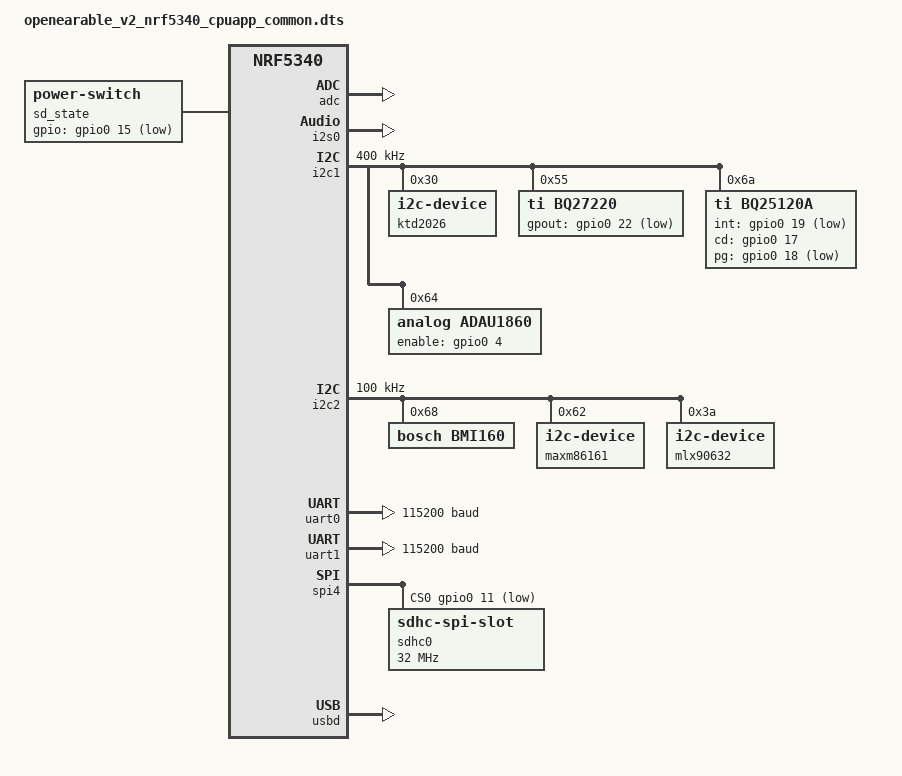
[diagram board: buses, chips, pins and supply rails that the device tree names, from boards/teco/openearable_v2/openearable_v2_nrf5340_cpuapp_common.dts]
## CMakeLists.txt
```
#
# Copyright (c) 2022 Nordic Semiconductor ASA
#
# SPDX-License-Identifier: LicenseRef-Nordic-5-Clause
#

cmake_minimum_required(VERSION 3.20.0)

# Ensure the custom board root is visible to Zephyr (avoids having to pass
# -DBOARD_ROOT=... on every command line invocation).
if(NOT BOARD_ROOT)
    set(BOARD_ROOT ${CMAKE_CURRENT_SOURCE_DIR} CACHE PATH "Custom board root")
endif()

# Flag which defines whether application is compiled as gateway/dongle or headset
add_compile_definitions(HEADSET=1)
add_compile_definitions(GATEWAY=2)

find_package(Zephyr REQUIRED HINTS $ENV{ZEPHYR_BASE})

project(openearable_v2_1)

#set(OVERLAY_CONFIG 
#    ${CMAKE_CURRENT_SOURCE_DIR}/unicast_server/overlay-unicast_server.conf
#)

string(TIMESTAMP NRF5340_AUDIO_CORE_APP_COMP_DATE "%a %b %d %H:%M:%S %Y")

# Generate fw_info_app.c
configure_file("${CMAKE_CURRENT_SOURCE_DIR}/src/utils/fw_info_app.c.in"
               "${CMAKE_BINARY_DIR}/fw_info_app.c"
               @ONLY)

# Target sources below are specific to the nRF5340 Audio DK HW
target_sources(app PRIVATE
#    src/openearable_common.c
    ${CMAKE_BINARY_DIR}/fw_info_app.c
    )

target_compile_options(app PRIVATE $<$<COMPILE_LANGUAGE:CXX>:-Wno-write-strings>)

if (CONFIG_BT_BAP_BROADCAST_SINK)
	add_subdirectory(broadcast_sink)
endif()

# Always compile the main application logic, regardless of audio settings
add_subdirectory(unicast_server)


# Include application events and configuration headers
zephyr_library_include_directories(
    include
    src/audio
    src/Battery
    src/Wire
    src/bluetooth
    src/drivers
    src/modules
    src/utils
    src/utils/macros
    src/ParseInfo
    src/SD_Card/SDLogger
    src/SD_Card/Benchmark
    src/SD_Card/SD_Card_Manager
)

zephyr_library_include_directories(app PRIVATE
    ${ZEPHYR_NRF_MODULE_DIR}/boards/teco/openearable_v2_nrf5340)

# Application sources
add_subdirectory(src/audio)
add_subdirectory(src/Wire)
add_subdirectory(src/Battery)
add_subdirectory(src/bluetooth)
add_subdirectory(src/buttons)
add_subdirectory(src/drivers)
add_subdirectory(src/modules)
add_subdirectory(src/utils)
add_subdirectory(src/ParseInfo)
add_subdirectory(src/SensorManager)
add_subdirectory(src/SD_Card/SDLogger)
add_subdirectory(src/SD_Card/Benchmark)
add_subdirectory(src/SD_Card/SD_Card_Manager)

## Cirrus Logic
if (CONFIG_HW_CODEC_CIRRUS_LOGIC)
    if (ZEPHYR_CIRRUS_LOGIC_MODULE_DIR)
        add_subdirectory(${ZEPHYR_CIRRUS_LOGIC_MODULE_DIR} cirrus_logic_bin_dir)
    else()
        message(FATAL_ERROR "Cirrus Logic/sdk-mcu-drivers repository not found\n")
    endif()
endif()

include(version.cmake)
include_directories(${CMAKE_CURRENT_BINARY_DIR}/include)
```

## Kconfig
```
#
# Copyright (c) 2018 Nordic Semiconductor ASA
#
# SPDX-License-Identifier: LicenseRef-Nordic-5-Clause
#

menuconfig NRF5340_AUDIO
	 bool "nRF5340 Audio [EXPERIMENTAL]"
	 select EXPERIMENTAL
	
if NRF5340_AUDIO

config CUSTOM_BROADCASTER
	bool "Allow custom broadcasters"
	default n
	help
	  Incomplete feature for now, but will introduce support for multiple BIGs and subgroups.

config AUDIO_DEV
	int "Select which device type to compile for. 1=HEADSET or 2=GATEWAY"
	range 1 2
	default 1
	help
	  Setting this variable to 1 selects that the project is compiled
	  as a HEADSET device.
	  Setting to 2 will compile as a GATEWAY.

choice NRF5340_AUDIO_TRANSPORT_MODE
	prompt "Choose BIS or CIS for ISO transport"
	default TRANSPORT_CIS if WALKIE_TALKIE_DEMO
	default TRANSPORT_CIS

config TRANSPORT_BIS
	bool "Use BIS (Broadcast Isochronous Stream)"

config TRANSPORT_CIS
	bool "Use CIS (Connected Isochronous Stream)"

endchoice

#----------------------------------------------------------------------------#
# if (TRANSPORT_BIS && AUDIO_DEV = 1)
# rsource "broadcast_sink/Kconfig.defaults"
# endif # TRANSPORT_BIS && AUDIO_DEV = 1

# if (TRANSPORT_BIS && AUDIO_DEV = 2)
# rsource "broadcast_source/Kconfig.defaults"
# endif # TRANSPORT_BIS && AUDIO_DEV = 2

# if (TRANSPORT_CIS && AUDIO_DEV = 1)
rsource "unicast_server/Kconfig.defaults"
# endif # TRANSPORT_CIS && AUDIO_DEV = 1

# if (TRANSPORT_CIS && AUDIO_DEV = 2)
# rsource "unicast_client/Kconfig.defaults"
# endif # TRANSPORT_CIS && AUDIO_DEV = 2

endif # NRF5340_AUDIO

rsource "Kconfig.defaults"
rsource "src/audio/Kconfig"
rsource "src/bluetooth/Kconfig"
rsource "src/drivers/Kconfig"
rsource "src/modules/Kconfig"
rsource "src/utils/Kconfig"
rsource "src/SensorManager/Kconfig"
rsource "src/Battery/Kconfig"

#----------------------------------------------------------------------------#
menu "Logging"

module = MAIN
module-str = main
source "subsys/logging/Kconfig.template.log_config"

config PRINT_STACK_USAGE_MS
	depends on THREAD_ANALYZER && INIT_STACKS
	int "Print stack usage every x milliseconds"
	default 5000

endmenu # Log levels

#----------------------------------------------------------------------------#

source "Kconfig.zephyr"
```

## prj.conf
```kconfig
#
# Copyright (c) 2022 Nordic Semiconductor ASA
#
# SPDX-License-Identifier: LicenseRef-Nordic-5-Clause
#

# CONFIG_STATIC_INIT_GNU=y

# nRF5340 Audio
# nRF5340 Audio
CONFIG_NRF5340_AUDIO=n
CONFIG_SAMPLE_RATE_CONVERTER=n
CONFIG_SAMPLE_RATE_CONVERTER_FILTER_SIMPLE=n
CONFIG_BT_AUDIO=n
CONFIG_BT_DEVICE_APPEARANCE=0

# BT enabled (required - entire codebase depends on BT APIs)
CONFIG_BT=y


# General
CONFIG_DEBUG=y
CONFIG_DEBUG_INFO=y
CONFIG_ASSERT=y
CONFIG_STACK_USAGE=y
CONFIG_THREAD_RUNTIME_STATS=y
CONFIG_STACK_SENTINEL=y
CONFIG_INIT_STACKS=y

# Fix: Increase main stack for C++ application (was 1600, too small)
CONFIG_MAIN_STACK_SIZE=4096
CONFIG_HEAP_MEM_POOL_SIZE=4096
CONFIG_SYSTEM_WORKQUEUE_STACK_SIZE=4096

# Uart driver
CONFIG_SERIAL=y

# Logging
CONFIG_LOG=y
CONFIG_NEWLIB_LIBC_FLOAT_PRINTF=y
CONFIG_LOG_TAG_MAX_LEN=2
CONFIG_LOG_TAG_DEFAULT="--"
CONFIG_LOG_BACKEND_UART=y
CONFIG_LOG_BUFFER_SIZE=4096

# Use this for debugging thread usage
#CONFIG_LOG_THREAD_ID_PREFIX=y

# Console related defines
CONFIG_CONSOLE=y
CONFIG_RTT_CONSOLE=n
CONFIG_UART_CONSOLE=y

# Shell related defines
CONFIG_SHELL=n
CONFIG_KERNEL_SHELL=n
CONFIG_USE_SEGGER_RTT=y
## Disable logs on RTT
CONFIG_SHELL_RTT_INIT_LOG_LEVEL_NONE=y
CONFIG_SHELL_BACKEND_RTT=n
CONFIG_SHELL_BACKEND_SERIAL=n
CONFIG_SHELL_VT100_COMMANDS=y
CONFIG_SHELL_VT100_COLORS=y
CONFIG_SHELL_STACK_SIZE=4096
CONFIG_SHELL_CMD_BUFF_SIZE=128
## Reduce shell memory usage
CONFIG_SHELL_WILDCARD=n
CONFIG_SHELL_HELP_ON_WRONG_ARGUMENT_COUNT=n
CONFIG_SHELL_STATS=n
CONFIG_SHELL_CMDS=n
CONFIG_SHELL_HISTORY=y

# Turn off default shell commands
CONFIG_I2C_SHELL=n
CONFIG_HWINFO_SHELL=n
CONFIG_CLOCK_CONTROL_NRF_SHELL=n
CONFIG_FLASH_SHELL=n
CONFIG_DEVICE_SHELL=n

# Suppress LOG_ERR messages from sd_check_card_type. Because SPI_SDHC has no card presence method,
# assume card is in slot. Thus error message is always shown if card is not inserted
CONFIG_SD_LOG_LEVEL_OFF=y

# Suppress LOG_INF messages from hci_core
CONFIG_BT_HCI_CORE_LOG_LEVEL_WRN=y

# Meow Sense Tag: disable hardware not present on our board
CONFIG_NRF5340_AUDIO_CS47L63_DRIVER=n
CONFIG_NRF5340_AUDIO_POWER_MEASUREMENT=n
CONFIG_NRF5340_AUDIO_SD_CARD_MODULE=n

#Custom
CONFIG_NRFX_PWM1=y

CONFIG_I2C=y
CONFIG_I2C_NRFX=y
# Prevent the nRF TWIM driver from hanging indefinitely if the bus is locked
CONFIG_I2C_NRFX_TRANSFER_TIMEOUT=500

# Disable Zephyr in-tree BMI160 driver — we use our own DFRobot_BMI160 via raw I2C.
# Having both active causes double soft-reset and bus contention at boot.
CONFIG_BMI160=n

CONFIG_POWEROFF=y

CONFIG_PM=y # may cause delay issues for ISO stream ?
CONFIG_PM_DEVICE=y
CONFIG_PM_DEVICE_RUNTIME=y

CONFIG_BT_DEVICE_NAME="Xinyi_IMU_Left_Thigh"

# Configure Internal RC Oscillator for LFCLK to bypass missing 32.768kHz crystal issue
CONFIG_CLOCK_CONTROL_NRF_K32SRC_RC=y
CONFIG_CLOCK_CONTROL_NRF_K32SRC_500PPM=y
CONFIG_CLOCK_CONTROL_NRF_K32SRC_XTAL=n

#CONFIG_USB_CDC_ACM_LOG_LEVEL_DBG=y# 增加超時到 400 (4秒)
CONFIG_BLE_ACL_SUP_TIMEOUT=400
# 允許從機跳過 3 個事件以節電並提升容錯
CONFIG_BLE_ACL_SLAVE_LATENCY=3

CONFIG_BT_PERIPHERAL=y
CONFIG_BT_OBSERVER=y
CONFIG_BT_EXT_ADV_LEGACY_SUPPORT=y

CONFIG_SFLOAT=y

# FPU Processing
CONFIG_FPU=y
CONFIG_CMSIS_DSP=n

CONFIG_NEWLIB_LIBC=y
CONFIG_NEWLIB_LIBC_FLOAT_PRINTF=y
CONFIG_NEWLIB_LIBC_FLOAT_SCANF=y

CONFIG_CPP=y
CONFIG_GLIBCXX_LIBCPP=y
CONFIG_STD_CPP17=y

#CONFIG_USB=y
CONFIG_USB_CDC_ACM=y

CONFIG_USB_DEVICE_STACK=y
CONFIG_USB_DEVICE_PRODUCT="Xinyi_IMU_Left_Thigh"
CONFIG_USB_DEVICE_PID=0x0004
CONFIG_USB_DEVICE_INITIALIZE_AT_BOOT=n

CONFIG_UART_LINE_CTRL=y

CONFIG_BT_USER_DATA_LEN_UPDATE=y
CONFIG_BT_USER_PHY_UPDATE=y

CONFIG_BT_CTLR_DATA_LENGTH_MAX=251
CONFIG_BT_BUF_ACL_RX_SIZE=502
CONFIG_BT_BUF_ACL_TX_SIZE=502
CONFIG_BT_L2CAP_TX_MTU=498
CONFIG_BT_CTLR_PHY_2M=y
CONFIG_BT_CTLR_PHY_CODED=n

# ISO buffers not needed (no LE Audio)
# CONFIG_BT_ISO_TX_BUF_COUNT=1
# CONFIG_BT_ISO_RX_BUF_COUNT=1


CONFIG_BT_ATT_PREPARE_COUNT=8
CONFIG_BT_L2CAP_DYNAMIC_CHANNEL=y

# Audio retransmits not needed (no LE Audio)
# CONFIG_BT_AUDIO_RETRANSMITS=2

CONFIG_BLE_ACL_CONN_INTERVAL=8

CONFIG_BT_PERIPHERAL=y
CONFIG_BT_OBSERVER=y

CONFIG_SFLOAT=y

#CONFIG_RESET_ON_FATAL_ERROR=y

# Stream bidirectional not needed (no LE Audio)
# CONFIG_STREAM_BIDIRECTIONAL=y

# No I2S/PDM microphone
CONFIG_AUDIO_MIC_I2S=n

# CONFIG_LOG_DEFAULT_LEVEL=4

CONFIG_SPI_NRFX_RAM_BUFFER_SIZE=4096

# Meow Sense Tag: no FDSP, keep SPI/filesystem for compile compatibility
CONFIG_FDSP=n

CONFIG_SYSTEM_WORKQUEUE_STACK_SIZE=4096

#CONFIG_USB_MASS_STORAGE=y
#CONFIG_MASS_STORAGE_STACK_SIZE=1024
#CONFIG_MASS_STORAGE_DISK_NAME="SD"
#CONFIG_APP_MSC_STORAGE_SDCARD=y

# Enable RTT Logging Backend
CONFIG_LOG_BACKEND_RTT=y
CONFIG_LOG_BACKEND_RTT_OUTPUT_BUFFER_SIZE=2048
CONFIG_LOG_BACKEND_RTT_RETRY_CNT=2

# Diagnostic: Disable watchdog to prevent reboot loop during debugging
CONFIG_WATCHDOG=n
CONFIG_WDT_DISABLE_AT_BOOT=y
CONFIG_BOOT_DELAY=1000

# Diagnostic: Short IPC timeout so main() can start even if NET core IPC fails
CONFIG_BT_HCI_IPC_ENDPOINT_BOUND_TIMEOUT_MS=500
CONFIG_RESET_ON_FATAL_ERROR=n
CONFIG_FAULT_DUMP=2

CONFIG_BT_NUS=y
```

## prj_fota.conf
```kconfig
#
# Copyright (c) 2022 Nordic Semiconductor ASA
#
# SPDX-License-Identifier: LicenseRef-Nordic-5-Clause
#

# CONFIG_STATIC_INIT_GNU=y

# nRF5340 Audio
CONFIG_NRF5340_AUDIO=y
CONFIG_SAMPLE_RATE_CONVERTER=y
CONFIG_SAMPLE_RATE_CONVERTER_FILTER_SIMPLE=y

# General
CONFIG_DEBUG=y
CONFIG_DEBUG_INFO=y
CONFIG_ASSERT=y
CONFIG_STACK_USAGE=y
CONFIG_THREAD_RUNTIME_STATS=y
CONFIG_STACK_SENTINEL=y
CONFIG_INIT_STACKS=y

# Uart driver
CONFIG_SERIAL=y

# Logging
CONFIG_LOG=y
CONFIG_NEWLIB_LIBC_FLOAT_PRINTF=y
CONFIG_LOG_TAG_MAX_LEN=2
CONFIG_LOG_TAG_DEFAULT="--"
CONFIG_LOG_BACKEND_UART=y
CONFIG_LOG_BUFFER_SIZE=4096

# Use this for debugging thread usage
#CONFIG_LOG_THREAD_ID_PREFIX=y

# Console related defines
CONFIG_CONSOLE=y
CONFIG_RTT_CONSOLE=y
CONFIG_UART_CONSOLE=y
CONFIG_STDOUT_CONSOLE=y

# Shell related defines
CONFIG_SHELL=y
CONFIG_KERNEL_SHELL=y
CONFIG_USE_SEGGER_RTT=y
## Disable logs on RTT
CONFIG_SHELL_RTT_INIT_LOG_LEVEL_NONE=y
CONFIG_SHELL_BACKEND_RTT=y
CONFIG_SHELL_BACKEND_SERIAL=n
CONFIG_SHELL_VT100_COMMANDS=y
CONFIG_SHELL_VT100_COLORS=y
CONFIG_SHELL_STACK_SIZE=4096
CONFIG_SHELL_CMD_BUFF_SIZE=128
## Reduce shell memory usage
CONFIG_SHELL_WILDCARD=n
CONFIG_SHELL_HELP_ON_WRONG_ARGUMENT_COUNT=n
CONFIG_SHELL_STATS=n
CONFIG_SHELL_CMDS=n
CONFIG_SHELL_HISTORY=y

# Turn off default shell commands
CONFIG_I2C_SHELL=n
CONFIG_HWINFO_SHELL=n
CONFIG_CLOCK_CONTROL_NRF_SHELL=n
CONFIG_FLASH_SHELL=n
CONFIG_DEVICE_SHELL=n

# Suppress LOG_ERR messages from sd_check_card_type. Because SPI_SDHC has no card presence method,
# assume card is in slot. Thus error message is always shown if card is not inserted
CONFIG_SD_LOG_LEVEL_OFF=y

# Suppress LOG_INF messages from hci_core
CONFIG_BT_HCI_CORE_LOG_LEVEL_WRN=y

# DFU
CONFIG_AUDIO_BT_MGMT_DFU=y
CONFIG_MCUMGR_TRANSPORT_BT_PERM_RW=y
CONFIG_BT_L2CAP_TX_MTU=498
CONFIG_BT_BUF_ACL_TX_SIZE=251

# External Flash (kept for MCUboot DFU, SPI NOR disabled - no flash chip)
CONFIG_FLASH=y
CONFIG_FLASH_MAP=y
CONFIG_SPI_NOR=n
#CONFIG_SPI_NOR_SFDP_DEVICETREE=y

# Meow Sense Tag: disable hardware not present on our board
CONFIG_NRF5340_AUDIO_CS47L63_DRIVER=n
CONFIG_NRF5340_AUDIO_POWER_MEASUREMENT=n
CONFIG_NRF5340_AUDIO_SD_CARD_MODULE=n

#Custom
CONFIG_NRFX_PWM1=y

CONFIG_I2C=y
CONFIG_I2C_NRFX=y

CONFIG_POWEROFF=y

#CONFIG_PM=y
CONFIG_PM_DEVICE=y
CONFIG_PM_DEVICE_RUNTIME=y

CONFIG_BT_DEVICE_NAME="Xinyi_IMU_Left_Shank"

#CONFIG_USB_CDC_ACM_LOG_LEVEL_DBG=y

CONFIG_BT_PERIPHERAL=y
CONFIG_BT_OBSERVER=y

CONFIG_SFLOAT=y

CONFIG_FPU=y

CONFIG_NEWLIB_LIBC=y
CONFIG_NEWLIB_LIBC_FLOAT_PRINTF=y
CONFIG_NEWLIB_LIBC_FLOAT_SCANF=y

CONFIG_CPP=y
CONFIG_GLIBCXX_LIBCPP=y
CONFIG_STD_CPP17=y

#CONFIG_USB=y
CONFIG_USB_CDC_ACM=y

CONFIG_USB_DEVICE_STACK=y
CONFIG_USB_DEVICE_PRODUCT="Xinyi_IMU_Left_Shank"
CONFIG_USB_DEVICE_PID=0x0004
CONFIG_USB_DEVICE_INITIALIZE_AT_BOOT=n

CONFIG_UART_LINE_CTRL=y

CONFIG_BT_USER_DATA_LEN_UPDATE=y
CONFIG_BT_USER_PHY_UPDATE=y

CONFIG_BT_CTLR_DATA_LENGTH_MAX=251
CONFIG_BT_BUF_ACL_RX_SIZE=502
CONFIG_BT_BUF_ACL_TX_SIZE=502
CONFIG_BT_L2CAP_TX_MTU=498
CONFIG_BT_CTLR_PHY_2M=y
CONFIG_BT_CTLR_PHY_CODED=n

CONFIG_BT_ISO_TX_BUF_COUNT=4
CONFIG_BT_ISO_RX_BUF_COUNT=8

CONFIG_BT_CTLR_RX_BUFFERS=8
#CONFIG_BT_CTLR_TX_BUFFERS=8

CONFIG_BT_CTLR_ISO_TX_BUFFERS=16
CONFIG_BT_CTLR_ISO_RX_BUFFERS=16

#CONFIG_BT_ISO_RX_MTU=498
#CONFIG_BT_ISO_TX_MTU=498

CONFIG_BT_ATT_PREPARE_COUNT=8
CONFIG_BT_L2CAP_DYNAMIC_CHANNEL=y

#CONFIG_BT_AUDIO_PRESENTATION_DELAY_US=40000
#CONFIG_BT_AUDIO_MAX_TRANSPORT_LATENCY_MS=20

CONFIG_BT_AUDIO_RETRANSMITS=2

CONFIG_BLE_ACL_CONN_INTERVAL=8

CONFIG_BT_PERIPHERAL=y
CONFIG_BT_OBSERVER=y

CONFIG_SFLOAT=y

#CONFIG_RESET_ON_FATAL_ERROR=y

CONFIG_STREAM_BIDIRECTIONAL=y

# CONFIG_NRFX_PDM=y

# Meow Sense Tag: no I2S microphone
CONFIG_AUDIO_MIC_I2S=n

# CONFIG_LOG_DEFAULT_LEVEL=4

CONFIG_SPI_NRFX_RAM_BUFFER_SIZE=4096

# Meow Sense Tag: no FDSP, keep SPI/filesystem for compile compatibility
CONFIG_FDSP=n

CONFIG_SYSTEM_WORKQUEUE_STACK_SIZE=4096

#CONFIG_USB_MASS_STORAGE=y
#CONFIG_MASS_STORAGE_STACK_SIZE=1024

##################################################

# Step 1.1 - Enable SPI driver for the application
#CONFIG_GPIO=y
#CONFIG_SPI=y
#CONFIG_SPI_NOR=y
#CONFIG_SPI_NOR_SFDP_DEVICETREE=y
#CONFIG_SPI_NOR_FLASH_LAYOUT_PAGE_SIZE=4096
# QSPI drivers are enabled by defualt for some chips.
# Disable it explicitly to be sure QSPI is disabled.
CONFIG_NORDIC_QSPI_NOR=n

# STEP 5.3 - Enable USB subsystem
CONFIG_USB_DEVICE_STACK=y
CONFIG_UART_LINE_CTRL=y
CONFIG_USB_DEVICE_INITIALIZE_AT_BOOT=n

# STEP 5.2 - Enable mcumgr DFU in application
# Enable MCUMGR 
CONFIG_MCUMGR=y

# Enable MCUMGR management for both OS and Images
CONFIG_MCUMGR_GRP_OS=y
CONFIG_MCUMGR_GRP_IMG=y

# Configure MCUMGR transport to UART
CONFIG_MCUMGR_TRANSPORT_UART=y

# Dependencies
# Configure dependencies for CONFIG_MCUMGR  
CONFIG_NET_BUF=y
CONFIG_ZCBOR=y
CONFIG_CRC=y

# Configure dependencies for CONFIG_MCUMGR_GRP_IMG  
CONFIG_FLASH=y
CONFIG_IMG_MANAGER=y

# Configure dependencies for CONFIG_IMG_MANAGER  
CONFIG_STREAM_FLASH=y
CONFIG_FLASH_MAP=y

# Configure dependencies for CONFIG_MCUMGR_TRANSPORT_UART 
CONFIG_BASE64=y

# MCUboot hooks
CONFIG_MCUMGR_MGMT_NOTIFICATION_HOOKS=y

CONFIG_MCUMGR_SMP_COMMAND_STATUS_HOOKS=y
#CONFIG_MCUMGR_GRP_FS_FILE_ACCESS_HOOK=y

CONFIG_MCUMGR_GRP_IMG_UPLOAD_CHECK_HOOK=y
CONFIG_MCUMGR_GRP_IMG_STATUS_HOOKS=y
CONFIG_MCUMGR_GRP_OS_RESET_HOOK=y

#CONFIG_MCUMGR_GRP_SETTINGS_ACCESS_HOOK=y

CONFIG_SETUP_FUEL_GAUGE=y
```

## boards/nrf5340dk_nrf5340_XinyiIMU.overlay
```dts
/ {
    chosen {
        /* 确保控制台和蓝牙 HCI 路径正确 */
        zephyr,console = &uart0;
        zephyr,shell-uart = &uart0;
        zephyr,bt-hci = &bt_hci_ipc0;
    };

    aliases {
        charging-led = &charging_led;
        en-ls = &en_ls_pin;
    };

    /* 状态指示灯定义：P1.08 */
    leds {
        compatible = "gpio-leds";
        charging_led: led_1 {
            gpios = <&gpio1 8 GPIO_ACTIVE_HIGH>;
            label = "Charging Status LED";
        };
    };

    /* BQ25120A 负载开关控制：P0.27 */
    power_ctrl {
        compatible = "gpio-leds";
        en_ls_pin: en_ls_node {
            gpios = <&gpio0 27 GPIO_ACTIVE_HIGH>;
            label = "PMIC Load Switch Enable";
        };
    };
};

/* --- 引脚控制器配置 (Pinctrl) --- */
&pinctrl {
    /* I2C1 引脚：P0.21 (SDA), P0.24 (SCL) — 与 OpenEarable v2 硬件一致 */
    i2c1_default: i2c1_default {
        group1 {
            psels = <NRF_PSEL(TWIM_SDA, 0, 21)>,
                    <NRF_PSEL(TWIM_SCL, 0, 24)>;
        };
    };

    i2c1_sleep: i2c1_sleep {
        group1 {
            psels = <NRF_PSEL(TWIM_SDA, 0, 21)>,
                    <NRF_PSEL(TWIM_SCL, 0, 24)>;
            low-power-enable;
        };
    };

    /* I2C2 引脚：核心修正 P1.03 (SDA) 和 P1.02 (SCL) */
    i2c2_default: i2c2_default {
        group1 {
            psels = <NRF_PSEL(TWIM_SDA, 1, 3)>, /* P1.03 */
                    <NRF_PSEL(TWIM_SCL, 1, 2)>; /* P1.02 */
            bias-pull-up; /* 关键：开启内部上拉，解决陀螺仪不醒的物理干扰 */
        };
    };

    i2c2_sleep: i2c2_sleep {
        group1 {
            psels = <NRF_PSEL(TWIM_SDA, 1, 3)>,
                    <NRF_PSEL(TWIM_SCL, 1, 2)>;
            low-power-enable;
        };
    };
};

/* --- I2C 实例配置 --- */

/* I2C1: KTD2026 (0x30), 电量计 BQ27220 (0x55), PMIC BQ25120A (0x6a)
 * 设备节点和子节点已在 base board DTS 中定义，此处仅需确保 status okay */
&i2c1 {
    status = "okay";
};

/* I2C2: BMI160 陀螺仪 (0x68) */
&i2c2 {
    compatible = "nordic,nrf-twim";
    status = "okay";
    pinctrl-0 = <&i2c2_default>;
    pinctrl-1 = <&i2c2_sleep>;
    pinctrl-names = "default", "sleep";
    
    /* 修正：强制降速至 100kHz，确保陀螺仪在唤醒序列中不丢指令 */
    clock-frequency = <I2C_BITRATE_STANDARD>; 

    bmi160: bmi160@68 {
        compatible = "bosch,bmi160";
        reg = <0x68>;
        label = "BMI160";
        status = "okay";
    };
};

/* --- 内部存储分区配置 (用于保存唯一 MAC 命名) --- */
&flash0 {
    partitions {
        compatible = "fixed-partitions";
        #address-cells = <1>;
        #size-cells = <1>;

        /* 定义 NVS 存储区，用于 settings 服务保存设备名称 */
        storage_partition: partition@f8000 {
            label = "storage";
            reg = <0x000f8000 0x00008000>;
        };
    };
};

/* 禁用不需要的 I2S 音频节点 */
&i2s0 { status = "disabled"; };
```

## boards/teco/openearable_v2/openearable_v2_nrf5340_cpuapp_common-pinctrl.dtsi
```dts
/*
 * Copyright (c) 2023 Raytac Corporation
 *
 * SPDX-License-Identifier: Apache-2.0
 */

&pinctrl {
	i2s0_default: i2s0_default {
		group1 {
			psels = <NRF_PSEL(I2S_MCK, 1, 14)>;
			nordic,drive-mode = <NRF_DRIVE_H0H1>;
		};
		group2 {
			psels = <NRF_PSEL(I2S_SCK_M, 1, 10)>,
			        <NRF_PSEL(I2S_LRCK_M, 0, 30)>,
			        <NRF_PSEL(I2S_SDOUT, 0, 28)>,
			        <NRF_PSEL(I2S_SDIN, 0, 31)>;
		};
	};

	i2s0_sleep: i2s0_sleep {
		group1 {
			psels = <NRF_PSEL(I2S_MCK, 1, 14)>,
			        <NRF_PSEL(I2S_SCK_M, 1, 10)>,
			        <NRF_PSEL(I2S_LRCK_M, 0, 30)>,
			        <NRF_PSEL(I2S_SDOUT, 0, 28)>,
			        <NRF_PSEL(I2S_SDIN, 0, 31)>;
			// <NRF_PSEL(I2S_SDIN, 0, 15)>
			// <NRF_PSEL(I2S_MCK, 0, 12)>
			low-power-enable;
		};
	};

	pdm0_default_alt: pdm0_default_alt {
		group1 {
			psels = <NRF_PSEL(PDM_CLK, 1, 14)>,
					<NRF_PSEL(PDM_DIN, 0, 31)>;
		};
	};

	i2c1_default: i2c1_default {
		group1 {
			psels = <NRF_PSEL(TWIM_SDA, 0, 21)>,
					<NRF_PSEL(TWIM_SCL, 0, 24)>;
		};
	};

	i2c1_sleep: i2c1_sleep {
		group1 {
			psels = <NRF_PSEL(TWIM_SDA, 0, 21)>,
					<NRF_PSEL(TWIM_SCL, 0, 24)>;
			low-power-enable;
		};
	};

	i2c2_default: i2c2_default {
		group1 {
			/* SDA=P1.03, SCL=P1.02 */
			psels = <NRF_PSEL(TWIM_SDA, 1, 3)>,
					<NRF_PSEL(TWIM_SCL, 1, 2)>;
			bias-pull-up;
		};
	};

	i2c2_sleep: i2c2_sleep {
		group1 {
			psels = <NRF_PSEL(TWIM_SDA, 1, 3)>,
					<NRF_PSEL(TWIM_SCL, 1, 2)>;
			// low-power-enable;
			bias-pull-up;
		};
	};

	i2c3_default: i2c3_default {
		group1 {
			psels = <NRF_PSEL(TWIM_SCL, 1, 0)>,
					<NRF_PSEL(TWIM_SDA, 1, 5)>;
		};
	};

	i2c3_sleep: i2c3_sleep {
		group1 {
			psels = <NRF_PSEL(TWIM_SCL, 1, 0)>,
					<NRF_PSEL(TWIM_SDA, 1, 5)>;
			low-power-enable;
		};
	};

	uart0_default: uart0_default {
		group1 {
			psels = <NRF_PSEL(UART_TX, 1, 4)>,
			        <NRF_PSEL(UART_RX, 0, 20)>,
			        <NRF_PSEL_DISCONNECTED(UART_RTS)>,
			        <NRF_PSEL_DISCONNECTED(UART_CTS)>;
		};
	};

	uart0_sleep: uart0_sleep {
		group1 {
			psels = <NRF_PSEL(UART_TX, 1, 4)>,
			        <NRF_PSEL(UART_RX, 0, 20)>,
			        <NRF_PSEL_DISCONNECTED(UART_RTS)>,
			        <NRF_PSEL_DISCONNECTED(UART_CTS)>;
			low-power-enable;
		};
	};

	uart1_default: uart1_default {
		group1 {
			psels = <NRF_PSEL(UART_TX, 1, 1)>,
			        <NRF_PSEL_DISCONNECTED(UART_RX)>,
			        <NRF_PSEL(UART_RTS, 1, 14)>,
			        <NRF_PSEL_DISCONNECTED(UART_CTS)>;
		};
	};

	uart1_sleep: uart1_sleep {
		group1 {
			psels = <NRF_PSEL(UART_TX, 1, 1)>,
			        <NRF_PSEL_DISCONNECTED(UART_RX)>,
			        <NRF_PSEL(UART_RTS, 1, 14)>,
			        <NRF_PSEL_DISCONNECTED(UART_CTS)>;
			low-power-enable;
		};
	};

	pwm0_default: pwm0_default {
		group1 {
			psels = <NRF_PSEL(PWM_OUT0, 0, 28)>;
		};
	};

	pwm0_sleep: pwm0_sleep {
		group1 {
			psels = <NRF_PSEL(PWM_OUT0, 0, 28)>;
			low-power-enable;
		};
	};

	qspi_default: qspi_default {
		group1 {
			psels = <NRF_PSEL(QSPI_SCK, 0, 17)>,
			        <NRF_PSEL(QSPI_IO0, 0, 13)>,
			        <NRF_PSEL(QSPI_IO1, 0, 14)>,
			        <NRF_PSEL(QSPI_IO2, 0, 15)>,
			        <NRF_PSEL(QSPI_IO3, 0, 16)>,
			        <NRF_PSEL(QSPI_CSN, 0, 18)>;
		};
	};

	qspi_sleep: qspi_sleep {
		group1 {
			psels = <NRF_PSEL(QSPI_SCK, 0, 17)>,
			        <NRF_PSEL(QSPI_IO0, 0, 13)>,
			        <NRF_PSEL(QSPI_IO1, 0, 14)>,
			        <NRF_PSEL(QSPI_IO2, 0, 15)>,
			        <NRF_PSEL(QSPI_IO3, 0, 16)>,
			        <NRF_PSEL(QSPI_CSN, 0, 18)>;
			low-power-enable;
		};
	};

	spi2_default: spi2_default {
		group1 {
			psels = <NRF_PSEL(SPIM_MISO, 0, 26)>,
			        <NRF_PSEL(SPIM_MOSI, 0, 27)>,
			        <NRF_PSEL(SPIM_SCK, 0, 28)>;
		};
	};

	spi2_sleep: spi2_sleep {
		group1 {
			psels = <NRF_PSEL(SPIM_MISO, 0, 26)>,
			        <NRF_PSEL(SPIM_MOSI, 0, 27)>,
			        <NRF_PSEL(SPIM_SCK, 0, 28)>;
			low-power-enable;
		};
	};

	spi3_default: spi3_default {
		group1 {
			psels = <NRF_PSEL(SPIM_SCK, 1, 14)>,
			        <NRF_PSEL(SPIM_MISO, 1, 15)>,
			        <NRF_PSEL(SPIM_MOSI, 1, 13)>;
		};
	};

	spi3_sleep: spi3_sleep {
		group1 {
			psels = <NRF_PSEL(SPIM_SCK, 1, 14)>,
			        <NRF_PSEL(SPIM_MISO, 1, 15)>,
			        <NRF_PSEL(SPIM_MOSI, 1, 13)>;
			low-power-enable;
		};
	};

	spi4_default: spi4_default {
		group1 {
			psels = <NRF_PSEL(SPIM_SCK, 0, 8)>,
					<NRF_PSEL(SPIM_MOSI, 0, 9)>;
			/* Workaround for issue with PCA10121 v0.7.0
			 * related to SD-card
			 */
			nordic,drive-mode = <NRF_DRIVE_H0H1>;
		};
		group2 {
			psels = <NRF_PSEL(SPIM_MISO, 0, 10)>;
		};
	};

	spi4_sleep: spi4_sleep {
		group1 {
			psels = <NRF_PSEL(SPIM_MISO, 0, 10)>,
			        <NRF_PSEL(SPIM_MOSI, 0, 9)>,
			        <NRF_PSEL(SPIM_SCK, 0, 8)>;
			low-power-enable;
		};
	};
};
```

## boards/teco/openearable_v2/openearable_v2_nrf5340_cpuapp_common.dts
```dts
/*
 * Copyright (c) 2023 Raytac Corporation
 *
 * SPDX-License-Identifier: Apache-2.0
 */
 #include "openearable_v2_nrf5340_cpuapp_common-pinctrl.dtsi"
 #include <zephyr/dt-bindings/input/input-event-codes.h>
 
 / {
	 chosen {
		 zephyr,console = &uart0;
		 zephyr,shell-uart = &uart0;
		 zephyr,uart-mcumgr = &cdc_acm_uart0;
		 zephyr,bt-mon-uart = &uart0;
		 zephyr,bt-c2h-uart = &uart0;
		 zephyr,bt-hci = &bt_hci_ipc0;
		 watchdog0 = &wdt0;
	 };

	 aliases {
		 //ldo-ctrl = &ldo_ctrl;
	 };
 
 
	 sd_state: sd_state {
		 compatible = "power-switch";
		 gpios = <&gpio0 15 (GPIO_PULL_UP | GPIO_ACTIVE_LOW)>;
	 };


	 /*
	ldo_ctrl: ldo_ctrl {
		compatible = "regulator-fixed";
		regulator-name = "pmic_lsctrl";
		enable-gpios = <&gpio0 27 GPIO_ACTIVE_HIGH>;
		status = "okay";
	};
	*/
 
	 gpio_fwd: nrf-gpio-forwarder {
		 compatible = "nordic,nrf-gpio-forwarder";
		 status = "okay";
		 uart {
			 gpios = <&gpio1 6 0>, <&gpio0 7 0>, <&gpio0 2 0>, <&gpio0 3 0>;
		 };
	 };
 };
 
 &clock {
	 hfclkaudio-frequency = <12288000>;
 };

 // Oscillator Parameters 32mHz / 8pF / 20ppm
 &hfxo {
	load-capacitors = "internal";
	load-capacitance-femtofarad = <8000>;
 };

 &lfxo {
	load-capacitors = "external";
  };
 
 &adc {
	 status = "okay";
 };
 
 &gpiote {
	 status = "okay";
 };
 
 &gpio0 {
	 status = "okay";
 };
 
 &gpio1 {
	 status = "okay";
 };
 
 &i2s0 {
	 compatible = "nordic,nrf-i2s";
	 status = "okay";
	 pinctrl-0 = <&i2s0_default>;
	 pinctrl-1 = <&i2s0_sleep>;
	 pinctrl-names = "default", "sleep";
 };
 
 dmic_dev: &pdm0 {
	 compatible = "nordic,nrf-pdm";
	 status = "disabled";
	 pinctrl-0 = <&pdm0_default_alt>;
	 pinctrl-names = "default";
	 clock-source = "ACLK";
 };
 
&i2c1 {
	 compatible = "nordic,nrf-twim";
	 status = "okay";
	 pinctrl-0 = <&i2c1_default>;
	 pinctrl-1 = <&i2c1_sleep>;
	 pinctrl-names = "default", "sleep";
	 clock-frequency = <I2C_BITRATE_FAST>;  // 400 kHz
	 zephyr,concat-buf-size = <512>;
     zephyr,flash-buf-max-size = <512>;

	 ktd2026: ktd2026@30 {
		 compatible = "i2c-device";
		 reg = <0x30>;
	 };
 
	 bq27220: bq27220@55 {
		 compatible = "ti,bq27220";
		 reg = <0x55>;
		 gpout-gpios = <&gpio0 22 (GPIO_PULL_UP | GPIO_ACTIVE_LOW)>;
	 };
 
	 bq25120a: bq25120a@6a {
		 compatible = "ti,bq25120a";
		 reg = <0x6a>;
		 int-gpios = <&gpio0 19 (GPIO_ACTIVE_LOW | GPIO_PULL_UP)>;
		 cd-gpios = <&gpio0 17 GPIO_ACTIVE_HIGH>;
		 pg-gpios = <&gpio0 18 (GPIO_ACTIVE_LOW | GPIO_PULL_UP)>;

		load-switch {
			compatible = "load-switch";
			enable-gpios = <&gpio0 14 GPIO_ACTIVE_HIGH>;
			power-delay-us = <600>; // 250us per datasheet
			status = "okay";
        };
	 };
 
	 adau1860: adau1860@64 {
		 compatible = "analog,adau1860";
		 reg = <0x64>;
		 enable-gpios = <&gpio0 4 GPIO_ACTIVE_HIGH>;
	 };
 };
 
 &i2c2 {
	 compatible = "nordic,nrf-twim";
	 status = "okay";
	 pinctrl-0 = <&i2c2_default>;
	 pinctrl-1 = <&i2c2_sleep>;
	 pinctrl-names = "default", "sleep";
	 clock-frequency = <I2C_BITRATE_STANDARD>;  // 100 kHz
	 zephyr,concat-buf-size = <512>;
     zephyr,flash-buf-max-size = <512>;

	/* maxm86161 and mlx90632 not present on Meow Sense Tag, but keep nodes for DT_NODELABEL references */

	bmx160: bmi160@68 {
		compatible = "bosch,bmi160";
        reg = <0x68>;
		label = "BMI160";
    };

	maxm86161: maxm86161@62 {
        compatible = "i2c-device";
        reg = <0x62>;
    };

	mlx90632: mlx90632@3A {
        compatible = "i2c-device";
        reg = <0x3A>;
    };
 };
 
 &i2c3 {
	 compatible = "nordic,nrf-twim";
	 status = "disabled";
	 pinctrl-0 = <&i2c3_default>;
	 pinctrl-1 = <&i2c3_sleep>;
	 pinctrl-names = "default", "sleep";
	 clock-frequency = <I2C_BITRATE_FAST_PLUS>;  // 1000 kHz
	 zephyr,concat-buf-size = <512>;
     zephyr,flash-buf-max-size = <512>;

	/* bmp388, bma580 not present on Meow Sense Tag, but keep nodes for DT_NODELABEL references */
	bmp388: bmp388@76 {
        compatible = "i2c-device";
        reg = <0x76>;
    };

	bma580: bma580@18 {
        compatible = "i2c-device";
        reg = <0x18>;
    };
 };
 
 &uart0 {
	 status = "okay";
	 current-speed = <115200>;
	 pinctrl-0 = <&uart0_default>;
	 pinctrl-1 = <&uart0_sleep>;
	 pinctrl-names = "default", "sleep";
 };
 
 &uart1 {
	 compatible = "nordic,nrf-uarte";
	 current-speed = <115200>;
	 pinctrl-0 = <&uart1_default>;
	 pinctrl-1 = <&uart1_sleep>;
	 pinctrl-names = "default", "sleep";
 };
 
 &pwm0 {
	 status = "disabled"; // okay
	 pinctrl-0 = <&pwm0_default>;
	 pinctrl-1 = <&pwm0_sleep>;
	 pinctrl-names = "default", "sleep";
 };
 
 &qspi {
	 status = "disabled";
	 pinctrl-0 = <&qspi_default>;
	 pinctrl-1 = <&qspi_sleep>;
	 pinctrl-names = "default", "sleep";
 };
 
 &spi2 {
	 compatible = "nordic,nrf-spim";
	 status = "disabled";
	 cs-gpios = <&gpio0 25 GPIO_ACTIVE_LOW>;
 
	 pinctrl-0 = <&spi2_default>;
	 pinctrl-1 = <&spi2_sleep>;
	 pinctrl-names = "default", "sleep";
 };
 
 &spi3 {
	 compatible = "nordic,nrf-spim";
	 status = "disabled";
	 cs-gpios = <&gpio1 12 GPIO_ACTIVE_LOW>;
 
	 pinctrl-0 = <&spi3_default>;
	 pinctrl-1 = <&spi3_sleep>;
	 pinctrl-names = "default", "sleep";
 };
 
 &spi4 {
	 compatible = "nordic,nrf-spim";
	 status = "okay";
	 cs-gpios = <&gpio0 11 GPIO_ACTIVE_LOW>,<&gpio1 1 GPIO_ACTIVE_LOW>;
 
	 pinctrl-0 = <&spi4_default>;
	 pinctrl-1 = <&spi4_sleep>;
	 pinctrl-names = "default", "sleep";
	 sdhc0: sdhc@0 {
		 compatible = "zephyr,sdhc-spi-slot";
		 reg = <0>;
		 status = "okay";
		 sdmmc {
			 compatible = "zephyr,sdmmc-disk";
			 status = "okay";
			 disk-name = "SD";
		 };
 
		 spi-max-frequency = <32000000>;
	 };
 };
 
 zephyr_udc0: &usbd {
	 compatible = "nordic,nrf-usbd";
	 status = "okay";
	 cdc_acm_uart0: cdc_acm_uart0 {
		 compatible = "zephyr,cdc-acm-uart";
	 };
 };
 
 &uicr {
	 nfct-pins-as-gpios;
 };
 
 /* Include partition configuration file */
 //#include "openearable_v2_nrf5340_cpuapp_partition_conf.dts"
 #include <common/nordic/nrf5340_cpuapp_partition.dtsi>
 #include "openearable_v2_nrf5340_shared.dtsi"
 
```

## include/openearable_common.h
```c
#ifndef _OPEN_EARABLE_COMMON_H_
#define _OPEN_EARABLE_COMMON_H_

// #include <zephyr/bluetooth/audio/audio.h>
#include <zephyr/drivers/gpio.h>

#include <zephyr/pm/device.h>
#include <zephyr/pm/device_runtime.h>

#define ZBUS_READ_TIMEOUT_MS K_MSEC(100)
#define ZBUS_ADD_OBS_TIMEOUT_MS K_MSEC(200)

#define SENSOR_DATA_FIXED_LENGTH 38

#define millis() k_cyc_to_ms_floor64(k_uptime_ticks())
#define micros() k_cyc_to_us_floor64(k_uptime_ticks())

extern const struct device *const cons;

typedef uint8_t RGBColor[3];

struct boot_state {
  bool timer_reset;
  uint64_t device_id;
};

enum pairing_state {
  SET_PAIRING,
  BONDING,
  PAIRED, // DISONNECTED
  CONNECTED,
};

enum charging_state {
  DISCHARGING,
  BATTERY_CRITICAL,
  BATTERY_LOW,
  POWER_CONNECTED,
  PRECHARGING,
  SLOW_CHARGING,
  CHARGING,         // Constant current
  TRICKLE_CHARGING, // Constant voltage
  FULLY_CHARGED,
  FAULT,
};

enum led_mode {
  STATE_INDICATION,
  CUSTOM,
};

enum sd_state {
  SD_IDLE,
  SD_RECORDING,
  SD_FAULT,
};

struct earable_state {
  enum pairing_state pairing_state;
  enum charging_state charging_state;
  enum sd_state sd_state;
  enum led_mode led_mode;
};

enum sensor_id {
  ID_IMU = 0,
  ID_TEMP_BARO = 1,
  ID_MICRO = 2,
  ID_PPG = 4,
  ID_PULSOX = 5,
  ID_OPTTEMP = 6,
  ID_BONE_CONDUCTION = 7,
};

struct battery_data {
  uint8_t battery_level;
  enum charging_state charging_state;
  // uint16_t charging_state;
};

struct sensor_data {
  uint8_t id;
  uint8_t size;
  uint64_t time;
  uint8_t data[SENSOR_DATA_FIXED_LENGTH];
} __attribute__((packed));

struct sensor_msg {
  bool sd;
  bool stream;
  struct sensor_data data;
};

struct sensor_config {
  uint8_t sensorId;
  uint8_t sampleRateIndex;
  uint8_t storageOptions;
} __attribute__((packed));

struct battery_settings {
  float u_nominal;
  float u_term;
  float u_vlo;
  float u_charge_prevent;

  float i_term;
  float i_charge;
  float i_max;

  float capacity;

  float temp_min;
  float temp_fast_min;
  float temp_fast_max;
  float temp_max;
};

struct sd_msg {
  bool removed;
};

#include "audio_i2s.h"

struct audio_rx_data {
  char data[FRAME_SIZE_BYTES];
  size_t size;
};

#endif
```

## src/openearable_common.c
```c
/*
 * Copyright (c) 2023 Nordic Semiconductor ASA
 *
 * SPDX-License-Identifier: LicenseRef-Nordic-5-Clause
 */

#include "openearable_common.h"

const struct device *const cons = DEVICE_DT_GET(DT_CHOSEN(zephyr_console));
```
